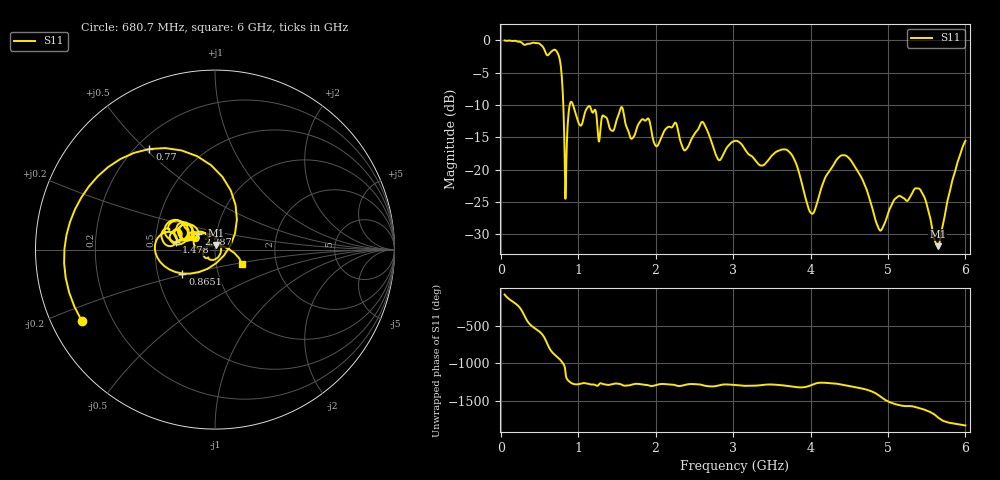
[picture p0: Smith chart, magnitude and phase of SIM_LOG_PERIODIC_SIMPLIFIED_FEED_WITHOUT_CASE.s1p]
! TOUCHSTONE file generated by CST MICROWAVE STUDIO
! Date and time: Sat Jan  3 18:41:09 2026
! Project name: PCB_LOG_PERIODIC.cst
! Parameters = {bowtie_linear_scaling_factor=0.85; bowtie_spacing=200; copper_thickness=0.035; dielectric_eps=4.6; dielectric_thickness=1.5; feed_line_length=205; feed_line_width=5; first_bowtie_length=60; first_bowtie_pos_offset=30; first_bowtie_start_offset=18; first_bowtie_width=5; first_bowtie_w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
! Header version: 2024
! Port assignment regex: !\s*Touchstone port\s*([0-9]+)\s*=\s*(CST MWS port|CST DES external port|CST DES block port)\s*(.+)\s* \(\"(.*)\"\)(\s*mode\s*([0-9]+))?.*
! Touchstone port assignment:
! Touchstone port 1 = CST MWS port 1 ("")
# GHz S MA R 50
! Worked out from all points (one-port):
!   1001 points, 50 MHz to 6 GHz, reference 50 ohm
!   lowest |S11| = -31.8 dB at 5.643 GHz (marker M1), VSWR 1.05, Z = 50.4 + j2.55 ohm
!   |S11| at or under -10 dB: 807.7 MHz to 890.6 MHz (82.88 MHz wide, 9.76 % of centre); 933.5 MHz to end of sweep
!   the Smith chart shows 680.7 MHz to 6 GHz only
!   S11 on the Smith chart (normalised r, x): 680.7 MHz: 0.09, -0.25; 770 MHz: 0.25, +0.51; 865.1 MHz: 0.67, -0.19; 1.478 GHz: 0.64, +0.06; 2.787 GHz: 0.82, +0.14; 6 GHz: 1.33, -0.22
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0.05  0.9987 -87.2
0.15115  0.9886 -178.7
0.2047  0.9854 141.0
0.24635  0.9754 98.4
0.2999  0.9264 4.6
0.35345  0.9412 -94.3
0.43675  0.957 -173.5
0.53195  0.9084 107.4
0.59145  0.7767 1.3
0.6331  0.7967 -89.1
0.6807  0.8418 -151.9
0.72235  0.8223 169.2
0.76995  0.6692 123.1
0.79375  0.471 92.7
0.86515  0.2254 -143.8
0.91275  0.3351 175.3
1.478  0.2197 169.1
1.5375  0.2851 163.8
2.28125  0.2121 138.3
2.787  0.1264 137.1
3.025  0.1669 149.6
3.76875  0.1273 128.0
4.01865  0.0457 151.6
4.5125  0.1199 132.1
4.8933  0.03405 3.3
5.25625  0.05772 -130.3
5.643  0.02563 80.5
6  0.1675 -28.1
